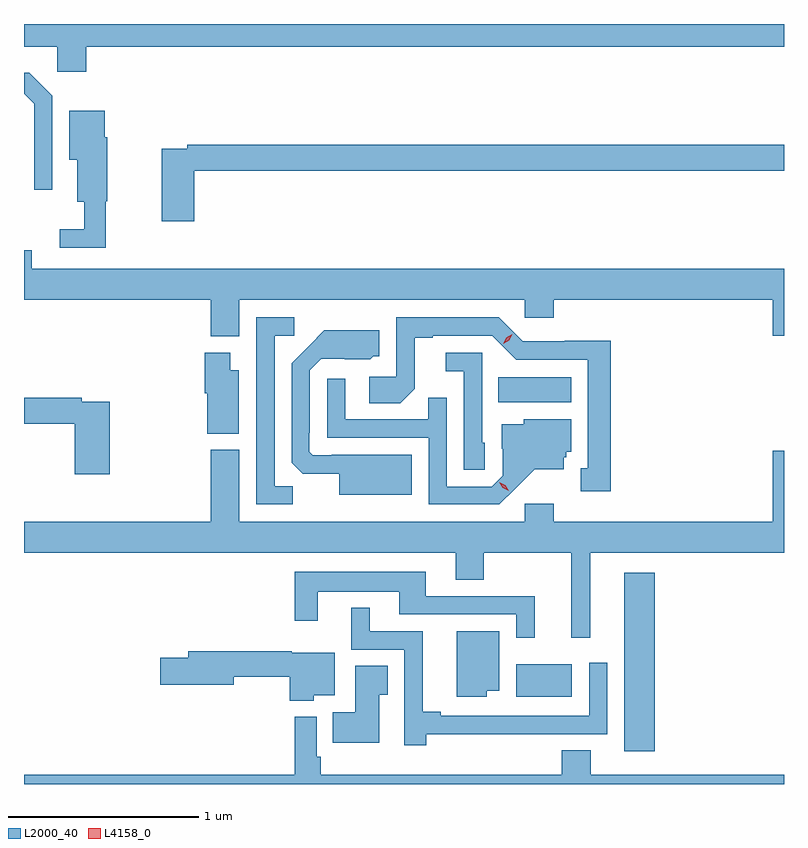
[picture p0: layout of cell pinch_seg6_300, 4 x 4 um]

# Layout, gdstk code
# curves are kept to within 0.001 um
import gdstk
lib = gdstk.Library(unit=1e-6, precision=1e-09)
def R(c, l, rs):  # rectangles x0, y0, x1, y1
    for r in rs: c.add(gdstk.rectangle(r[:2], r[2:], *l))
def P(c, l, *ps):  # polygons
    for p in ps: c.add(gdstk.Polygon(p, *l))
L2000_40 = (2000, 40)
L4158_0 = (4158, 0)

pinch_seg6_300 = lib.new_cell('pinch_seg6_300')
R(pinch_seg6_300, L2000_40, [(667.724,955.617,667.883,956.557), (667.154,955.904,667.447,956.074), (667.06,957.452,667.444,957.586)])
P(pinch_seg6_300, L2000_40, [(664.892,959.324),(668.564,959.324),(668.564,959.444),(664.564,959.444),(664.564,959.324),(664.74,959.324),(664.74,959.193),(664.892,959.193)],
  [(664.713,959.067),(664.592,959.188),(664.564,959.188),(664.564,959.078),(664.617,959.025),(664.617,958.572),(664.713,958.572)],
  [(664.994,958.512),(665.002,958.512),(665.002,958.848),(664.99,958.848),(664.99,958.987),(664.802,958.987),(664.802,958.73),(664.844,958.73),(664.844,958.508),(664.881,958.508),(664.881,958.363),(664.752,958.363),(664.752,958.266),(664.994,958.266)],
  [(665.459,958.672),(668.564,958.672),(668.564,958.808),(665.422,958.808),(665.422,958.788),(665.288,958.788),(665.288,958.407),(665.459,958.407)],
  [(665.698,957.992),(667.2,957.992),(667.2,957.899),(667.352,957.899),(667.352,957.992),(668.504,957.992),(668.504,957.804),(668.564,957.804),(668.564,958.156),(664.606,958.156),(664.606,958.254),(664.564,958.254),(664.564,957.992),(665.546,957.992),(665.546,957.8),(665.698,957.8)],
  [(665.979,957.011),(665.883,957.011),(665.883,957.804),(665.986,957.804),(665.986,957.9),(665.787,957.9),(665.787,956.916),(665.979,956.916)],
  [(667.651,957.776),(667.41,957.776),(667.41,957.774),(667.188,957.774),(667.062,957.9),(666.522,957.9),(666.522,957.588),(666.381,957.588),(666.381,957.448),(666.545,957.448),(666.621,957.524),(666.621,957.792),(666.715,957.792),(666.715,957.804),(667.029,957.804),(667.155,957.678),(667.532,957.678),(667.532,957.105),(667.493,957.105),(667.493,956.985),(667.651,956.985)],
  [(666.604,957.178),(666.184,957.178),(666.184,957.174),(666.084,957.174),(666.066,957.192),(666.066,957.292),(666.069,957.292),(666.069,957.621),(666.129,957.681),(666.386,957.68),(666.402,957.696),(666.433,957.696),(666.433,957.832),(666.145,957.832),(665.973,957.658),(665.973,957.136),(666.032,957.077),(666.224,957.077),(666.224,956.966),(666.604,956.966)],
  [(665.695,957.622),(665.65,957.622),(665.65,957.715),(665.516,957.715),(665.516,957.501),(665.528,957.501),(665.528,957.287),(665.695,957.287)],
  [(666.99,957.24),(666.975,957.24),(666.975,957.714),(666.783,957.714),(666.783,957.617),(666.879,957.617),(666.879,957.097),(666.99,957.097)],
  [(667.15,956.999),(667.253,957.101),(667.405,957.101),(667.405,957.165),(667.419,957.165),(667.419,957.192),(667.444,957.192),(667.444,957.364),(667.194,957.364),(667.194,957.337),(667.079,957.337),(667.079,957.208),(667.083,957.208),(667.083,957.066),(667.026,957.009),(666.789,957.009),(666.789,957.476),(666.691,957.476),(666.691,957.363),(666.255,957.363),(666.255,957.577),(666.159,957.577),(666.159,957.267),(666.693,957.267),(666.693,956.916),(667.066,956.916)],
  [(665.015,957.456),(664.868,957.456),(664.868,957.476),(664.564,957.476),(664.564,957.34),(664.832,957.34),(664.832,957.075),(665.015,957.075)],
  [(667.544,956.66),(668.564,956.66),(668.564,957.199),(668.504,957.199),(668.504,956.824),(667.352,956.824),(667.352,956.92),(667.2,956.92),(667.2,956.824),(665.698,956.824),(665.698,957.202),(665.546,957.202),(665.546,956.824),(664.564,956.824),(664.564,956.66),(666.836,956.66),(666.836,956.518),(666.984,956.518),(666.984,956.66),(667.445,956.66),(667.445,956.214),(667.544,956.214)],
  [(667.253,956.433),(666.679,956.433),(666.679,956.56),(665.988,956.56),(665.988,956.304),(666.109,956.304),(666.109,956.456),(666.539,956.456),(666.539,956.337),(667.155,956.337),(667.155,956.214),(667.253,956.214)],
  [(666.68,955.706),(667.31,955.706),(667.31,955.707),(667.635,955.707),(667.635,956.083),(667.539,956.083),(667.539,955.803),(666.757,955.803),(666.757,955.823),(666.662,955.823),(666.662,956.247),(666.385,956.247),(666.385,956.371),(666.287,956.371),(666.287,956.151),(666.564,956.151),(666.564,955.647),(666.68,955.647)],
  [(667,955.934),(667.066,955.934),(667.066,956.248),(666.842,956.248),(666.842,955.904),(667,955.904)],
  [(666.09,955.91),(666.199,955.91),(666.199,956.134),(665.973,956.134),(665.973,956.144),(665.429,956.144),(665.429,956.108),(665.28,956.108),(665.28,955.966),(665.668,955.966),(665.668,956.008),(665.962,956.008),(665.962,955.883),(666.09,955.883)],
  [(666.433,955.915),(666.479,955.915),(666.479,956.066),(666.308,956.066),(666.308,955.822),(666.19,955.822),(666.19,955.661),(666.433,955.661)],
  [(668.564,955.492),(667.546,955.492),(667.546,955.622),(667.394,955.622),(667.394,955.492),(666.125,955.492),(666.125,955.588),(666.105,955.588),(666.105,955.798),(665.989,955.798),(665.989,955.492),(664.564,955.492),(664.564,955.444),(668.564,955.444)])
P(pinch_seg6_300, L4158_0, [(667.086,957.761),(667.086,957.761),(667.103,957.793),(667.135,957.812),(667.135,957.812),(667.135,957.812),(667.118,957.78),(667.086,957.761)],
  [(667.114,956.987),(667.083,957.002),(667.065,957.032),(667.065,957.032),(667.065,957.032),(667.096,957.017),(667.114,956.988),(667.114,956.987)])

lib.write_gds('pinch_seg6_300.gds')
